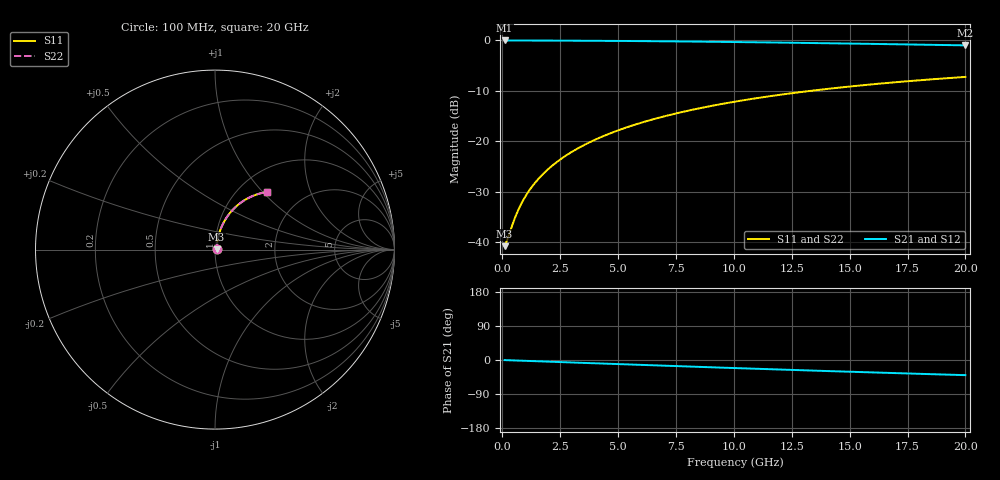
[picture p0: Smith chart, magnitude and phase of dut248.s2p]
! Touchstone file exported from HFSS 2026.1.0
!  File:  C:/ffzhzh/LocalFiles/Ansys_Project_Files/temp_train_BSMRDL_248_1782988553_6248.aedt
!  Generated:  06:37:08 PM Jul  2, 2026
!  Design:  BSMRDL
!  Project:  temp_train_BSMRDL_248_1782988553_6248
! Variables:
!  h_bsmrdl = 2.03um
!  h_ox = 20um
!  h_rdl = 5um
!  h_sub = 80um
!  h_tmrdl = 5um
!  h_tsv = 80um
!  h_via = 3um
!  l_bsmrdl = 544.35um
!  l_sub = 944.35um
!  l_tmrdl = 200um
!  m_sub = 200um
!  pitch = 33.11um
!  r_tsv = 6um
!  s_tmrdl = 10um
!  w_bsmrdl = 10.97um
!  w_sub = 500um
!  w_tmrdl = 12um
!  x_tsv_center1 = 206um
!  x_tsv_center2 = 761.32um
!  x_tsv_center3 = 973.32um
!  x_tsv_center4 = 1528.64um
!  x_tsv_center5 = 1740.64um
!  x_tsv_center6 = 2295.96um
# GHz S MA R 50.000000
! Terminal data exported
! Port[1] = BSM_RDL1_1_T1
! Port[2] = BSM_RDL1_1_T2
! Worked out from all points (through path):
!   200 points, 100 MHz to 20 GHz, reference 50 ohm
!   highest |S21| = -0.08 dB at 100 MHz (marker M1); lowest = -1.0 dB at 20 GHz (marker M2)
!   group delay of S21, straight-line fit = 5.57 ps
!   lowest |S11| = -40.8 dB at 100 MHz (marker M3), VSWR 1.02, Z = 50.9 + j0.276 ohm
!   |S11| at or under -10 dB: start of sweep to 13.41 GHz
!   |S22| runs from -40.8 to -7.3 dB; largest |S21 - S12| = 2e-15
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0.1  0.009122 17.3  0.9913 -0.2  0.9913 -0.2  0.009122 17.3
! Gamma 0 0 0 0
! Port Impedance 50 0 50 0
0.2  0.01032 31.7  0.9912 -0.5  0.9912 -0.5  0.01032 31.7
0.5  0.01631 55.4  0.9909 -1.1  0.9909 -1.1  0.01631 55.4
0.7  0.02104 62.5  0.9906 -1.6  0.9906 -1.6  0.02104 62.5
0.8  0.02348 64.8  0.9904 -1.8  0.9904 -1.8  0.02348 64.8
1  0.0284 68.1  0.9901 -2.2  0.9901 -2.2  0.0284 68.1
1.3  0.03583 71.2  0.9896 -2.9  0.9896 -2.9  0.03583 71.2
1.5  0.0408 72.5  0.9892 -3.3  0.9892 -3.3  0.0408 72.5
1.7  0.04577 73.4  0.9889 -3.8  0.9889 -3.8  0.04577 73.4
2.2  0.05823 74.9  0.988 -4.8  0.988 -4.8  0.05823 74.9
2.8  0.07319 75.5  0.9868 -6.1  0.9868 -6.1  0.07319 75.5
3.5  0.09063 75.5  0.9851 -7.6  0.9851 -7.6  0.09063 75.5
4.2  0.108 75.0  0.9832 -9.1  0.9832 -9.1  0.108 75.0
5  0.1277 74.1  0.9806 -10.8  0.9806 -10.8  0.1277 74.1
5.9  0.1496 72.9  0.9773 -12.7  0.9773 -12.7  0.1496 72.9
6.8  0.1712 71.4  0.9736 -14.6  0.9736 -14.6  0.1712 71.4
8.3  0.2064 68.9  0.9664 -17.8  0.9664 -17.8  0.2064 68.9
10.1  0.247 65.6  0.9564 -21.4  0.9564 -21.4  0.247 65.6
11.7  0.2814 62.7  0.9465 -24.6  0.9465 -24.6  0.2814 62.7
13.4  0.3161 59.6  0.9351 -27.9  0.9351 -27.9  0.3161 59.6
16.7  0.3777 53.7  0.9113 -34.1  0.9113 -34.1  0.3777 53.7
20  0.4318 48.0  0.8866 -40.0  0.8866 -40.0  0.4318 48.0
